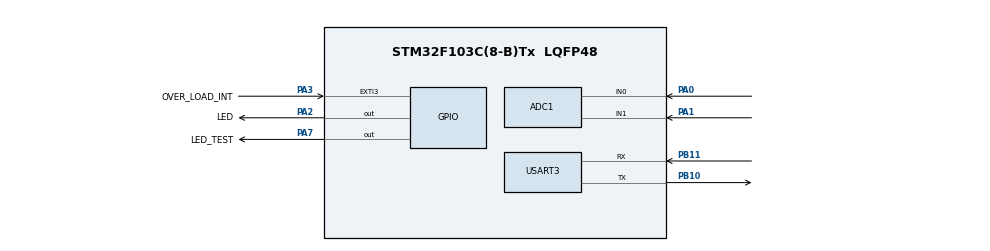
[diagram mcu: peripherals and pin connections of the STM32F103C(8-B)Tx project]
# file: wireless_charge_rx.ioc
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ADC1.Channel-0\#ChannelRegularConversion=ADC_CHANNEL_0
ADC1.Channel-1\#ChannelRegularConversion=ADC_CHANNEL_1
ADC1.ExternalTrigConv=ADC_EXTERNALTRIGCONV_T3_TRGO
ADC1.NbrOfConversion=2
ADC1.NbrOfConversionFlag=1
ADC1.Rank-0\#ChannelRegularConversion=1
ADC1.Rank-1\#ChannelRegularConversion=2
ADC1.SamplingTime-0\#ChannelRegularConversion=ADC_SAMPLETIME_7CYCLES_5
ADC1.SamplingTime-1\#ChannelRegularConversion=ADC_SAMPLETIME_7CYCLES_5
ADC1.master=1
Dma.ADC1.0.Direction=DMA_PERIPH_TO_MEMORY
Dma.ADC1.0.Instance=DMA1_Channel1
Dma.ADC1.0.MemDataAlignment=DMA_MDATAALIGN_WORD
Dma.ADC1.0.MemInc=DMA_MINC_ENABLE
Dma.ADC1.0.Mode=DMA_CIRCULAR
Dma.ADC1.0.PeriphDataAlignment=DMA_PDATAALIGN_HALFWORD
Dma.ADC1.0.PeriphInc=DMA_PINC_DISABLE
Dma.ADC1.0.Priority=DMA_PRIORITY_LOW
Dma.Request0=ADC1
FREERTOS.INCLUDE_eTaskGetState=1
FREERTOS.INCLUDE_vTaskDelayUntil=1
FREERTOS.INCLUDE_xEventGroupSetBitFromISR=1
FREERTOS.INCLUDE_xQueueGetMutexHolder=1
FREERTOS.INCLUDE_xSemaphoreGetMutexHolder=1
FREERTOS.INCLUDE_xTaskGetCurrentTaskHandle=1
FREERTOS.INCLUDE_xTaskGetHandle=1
FREERTOS.INCLUDE_xTimerPendFunctionCall=1
FREERTOS.Tasks01=defaultTask,0,128,StartDefaultTask,Default,NULL,Dynamic,NULL,NULL;UART_RxTask,1,512,UART_Receive_TaskHandle,Default,NULL,Dynamic,NULL,NULL;Get_ADC_Task,0,768,Get_ADC_Task_Handle,Default,NULL,Dynamic,NULL,NULL;Interrupt_task,2,512,Interrupt_task_handle,Default,NULL,Dynamic,NULL,NULL
FREERTOS.configTOTAL_HEAP_SIZE=12288
FREERTOS.configUSE_TIMERS=1
Mcu.Family=STM32F1
Mcu.Name=STM32F103C(8-B)Tx
Mcu.Package=LQFP48
NVIC.ADC1_2_IRQn=true\:9\:0\:true\:true\:true\:3\:true\:true\:true
NVIC.DMA1_Channel1_IRQn=true\:8\:0\:true\:true\:true\:2\:true\:false\:true
NVIC.EXTI3_IRQn=true\:6\:0\:true\:true\:true\:1\:true\:true\:true
NVIC.PriorityGroup=NVIC_PRIORITYGROUP_4
NVIC.TIM4_IRQn=true\:0\:0\:false\:false\:true\:false\:false\:true
NVIC.TimeBase=TIM4_IRQn
NVIC.TimeBaseIP=TIM4
NVIC.USART3_IRQn=true\:5\:0\:true\:true\:true\:4\:true\:true\:true
PA0-WKUP.Signal=ADCx_IN0
PA1.Signal=ADCx_IN1
PA2.GPIO_Label=LED
PA2.GPIO_PuPd=GPIO_PULLUP
PA2.PinState=GPIO_PIN_SET
PA2.Signal=GPIO_Output
PA3.GPIO_Label=OVER_LOAD_INT
PA3.GPIO_ModeDefaultEXTI=GPIO_MODE_IT_RISING
PA3.GPIO_PuPd=GPIO_PULLDOWN
PA3.Signal=GPXTI3
PA7.GPIO_Label=LED_TEST
PA7.GPIO_ModeDefaultOutputPP=GPIO_MODE_OUTPUT_PP
PA7.PinState=GPIO_PIN_SET
PA7.Signal=GPIO_Output
PB10.Mode=Asynchronous
PB10.Signal=USART3_TX
PB11.GPIO_PuPd=GPIO_PULLUP
PB11.Mode=Asynchronous
PB11.Signal=USART3_RX
ProjectManager.HeapSize=0x200
ProjectManager.StackSize=0x400
ProjectManager.TargetToolchain=MDK-ARM V5
RCC.APB1Freq_Value=8000000
RCC.APB2Freq_Value=8000000
SH.ADCx_IN0.0=ADC1_IN0,IN0
SH.ADCx_IN1.0=ADC1_IN1,IN1
TIM3.Period=8000
TIM3.TIM_MasterOutputTrigger=TIM_TRGO_UPDATE
USART3.VirtualMode=VM_ASYNC
VP_FREERTOS_VS_CMSIS_V1.Mode=CMSIS_V1
VP_SYS_VS_ND.Mode=No_Debug
VP_SYS_VS_tim4.Mode=TIM4
VP_TIM3_VS_ClockSourceINT.Mode=Internal
board=custom

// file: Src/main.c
/* USER CODE BEGIN Header */
/**
  ******************************************************************************
  * @file           : main.c
  * @brief          : Main program body
  ******************************************************************************
  * @attention
  *
  * <h2><center>&copy; Copyright (c) 2019 STMicroelectronics.
  * All rights reserved.</center></h2>
  *
  * This software component is licensed by ST under Ultimate Liberty license
  * SLA0044, the "License"; You may not use this file except in compliance with
  * the License. You may obtain a copy of the License at:
  *                             www.st.com/SLA0044
  *
  ******************************************************************************
  */
/* USER CODE END Header */

#include "main.h"
#include "cmsis_os.h"
#include "adc.h"
#include "dma.h"
#include "tim.h"
#include "usart.h"
#include "gpio.h"

void SystemClock_Config(void);
void MX_FREERTOS_Init(void);
static void MX_NVIC_Init(void);

/* USER CODE BEGIN 0 */
uint32_t myADC[2] = {0};
uint8_t uart_receive_data = 0;
__IO uint8_t over_vol_tx_flag = 0;

__IO wireless_charge_data_t myWC_dat = {
								.voltage    	= 0.0f,
								.current 		= 0.0f,
								.over_load_rx 	= 0,
								.keep_live 		= 0 };

	__IO SignalData mydata = {

		.overload  = 0,
		.bleonline = 0,
		.voltage   = 0,
		.current   = 0
							};
/* USER CODE END 0 */

int main(void)
{

  /* MCU Configuration--------------------------------------------------------*/

  /* Reset of all peripherals, Initializes the Flash interface and the Systick. */
  HAL_Init();

  /* Configure the system clock */
  SystemClock_Config();

  /* Initialize all configured peripherals */
  MX_GPIO_Init();
  MX_DMA_Init();
  MX_ADC1_Init();
  MX_TIM3_Init();
  MX_USART3_UART_Init();

  /* Initialize interrupts */
  MX_NVIC_Init();
  /* USER CODE BEGIN 2 */
	HAL_TIM_Base_Start(&htim3);
	HAL_ADC_Start_DMA(&hadc1,myADC,2);
	HAL_UART_Receive_IT(&huart3,&uart_receive_data,1);
  /* USER CODE END 2 */

  /* Call init function for freertos objects (in freertos.c) */
  MX_FREERTOS_Init();

  /* Start scheduler */
  osKernelStart();

  /* We should never get here as control is now taken by the scheduler */

  /* Infinite loop */
  while (1)
  {

  }
}

void SystemClock_Config(void)
{
  RCC_OscInitTypeDef RCC_OscInitStruct = {0};
  RCC_ClkInitTypeDef RCC_ClkInitStruct = {0};
  RCC_PeriphCLKInitTypeDef PeriphClkInit = {0};

  /** Initializes the CPU, AHB and APB busses clocks
  */
  RCC_OscInitStruct.OscillatorType = RCC_OSCILLATORTYPE_HSI;
  RCC_OscInitStruct.HSIState = RCC_HSI_ON;
  RCC_OscInitStruct.HSICalibrationValue = RCC_HSICALIBRATION_DEFAULT;
  RCC_OscInitStruct.PLL.PLLState = RCC_PLL_NONE;
  if (HAL_RCC_OscConfig(&RCC_OscInitStruct) != HAL_OK)
  {
    Error_Handler();
  }
  /** Initializes the CPU, AHB and APB busses clocks
  */
  RCC_ClkInitStruct.ClockType = RCC_CLOCKTYPE_HCLK|RCC_CLOCKTYPE_SYSCLK
                              |RCC_CLOCKTYPE_PCLK1|RCC_CLOCKTYPE_PCLK2;
  RCC_ClkInitStruct.SYSCLKSource = RCC_SYSCLKSOURCE_HSI;
  RCC_ClkInitStruct.AHBCLKDivider = RCC_SYSCLK_DIV1;
  RCC_ClkInitStruct.APB1CLKDivider = RCC_HCLK_DIV1;
  RCC_ClkInitStruct.APB2CLKDivider = RCC_HCLK_DIV1;

  if (HAL_RCC_ClockConfig(&RCC_ClkInitStruct, FLASH_LATENCY_0) != HAL_OK)
  {
    Error_Handler();
  }
  PeriphClkInit.PeriphClockSelection = RCC_PERIPHCLK_ADC;
  PeriphClkInit.AdcClockSelection = RCC_ADCPCLK2_DIV2;
  if (HAL_RCCEx_PeriphCLKConfig(&PeriphClkInit) != HAL_OK)
  {
    Error_Handler();
  }
}

/**
  * @brief NVIC Configuration.
  * @retval None
  */
static void MX_NVIC_Init(void)
{
  /* EXTI3_IRQn interrupt configuration */
  HAL_NVIC_SetPriority(EXTI3_IRQn, 6, 0);
  HAL_NVIC_EnableIRQ(EXTI3_IRQn);
  /* DMA1_Channel1_IRQn interrupt configuration */
  HAL_NVIC_SetPriority(DMA1_Channel1_IRQn, 8, 0);
  HAL_NVIC_EnableIRQ(DMA1_Channel1_IRQn);
  /* ADC1_2_IRQn interrupt configuration */
  HAL_NVIC_SetPriority(ADC1_2_IRQn, 9, 0);
  HAL_NVIC_EnableIRQ(ADC1_2_IRQn);
  /* USART3_IRQn interrupt configuration */
  HAL_NVIC_SetPriority(USART3_IRQn, 5, 0);
  HAL_NVIC_EnableIRQ(USART3_IRQn);
}

void HAL_TIM_PeriodElapsedCallback(TIM_HandleTypeDef *htim)
{
  if (htim->Instance == TIM4) {
    HAL_IncTick();
  }
}

void Error_Handler(void)
{
}

/************************ (C) COPYRIGHT STMicroelectronics *****END OF FILE****/

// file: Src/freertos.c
/* USER CODE BEGIN Header */
/**
  ******************************************************************************
  * File Name          : freertos.c
  * Description        : Code for freertos applications
  ******************************************************************************
  * @attention
  *
  * <h2><center>&copy; Copyright (c) 2019 STMicroelectronics.
  * All rights reserved.</center></h2>
  *
  * This software component is licensed by ST under Ultimate Liberty license
  * SLA0044, the "License"; You may not use this file except in compliance with
  * the License. You may obtain a copy of the License at:
  *                             www.st.com/SLA0044
  *
  ******************************************************************************
  */
/* USER CODE END Header */

#include "FreeRTOS.h"
#include "task.h"
#include "main.h"
#include "cmsis_os.h"

/* USER CODE BEGIN Includes */
#include "stdio.h"
#include "string.h"
#include <stdlib.h>
/* USER CODE END Includes */

/* USER CODE BEGIN PTD */
int32_t com(const void*a,const void*b)
{
	/* 从小到大排序  */
	//return *(int*)a-*(int*)b;
	/* 从大到小排序  */
	//return *(int*)b-*(int*)a;
	/* 从小到大排序  */
	return *(int32_t *)a - *(int32_t *)b;
}

uint16_t crc16_compute(uint8_t const * p_data, uint32_t size, uint16_t const * p_crc)
{
    uint16_t crc = (p_crc == NULL) ? 0xFFFF : *p_crc;

    for (uint32_t i = 0; i < size; i++)
    {
        crc  = (uint8_t)(crc >> 8) | (crc << 8);
        crc ^= p_data[i];
        crc ^= (uint8_t)(crc & 0xFF) >> 4;
        crc ^= (crc << 8) << 4;
        crc ^= ((crc & 0xFF) << 4) << 1;
    }

    return crc;
}
/* USER CODE END PTD */

/* USER CODE BEGIN Variables */
__IO static uint8_t over_load_rx = 0;
/* USER CODE END Variables */
osThreadId defaultTaskHandle;
osThreadId UART_RxTaskHandle;
osThreadId Get_ADC_TaskHandle;
osThreadId Interrupt_taskHandle;

/* USER CODE BEGIN FunctionPrototypes */
extern uint8_t uart_receive_data ;
extern uint8_t RxData[100];

extern UART_HandleTypeDef huart3;
extern __IO wireless_charge_data_t myWC_dat;
extern uint32_t myADC[2];
extern __IO uint8_t over_vol_tx_flag;

extern 	__IO SignalData mydata ;

led_blinky_t mBliky = {
			.mode = LED_NULL,
			.gpioport = LED_GPIO_Port,
			LED_Pin };

/* Declare a variable to hold the created event group. */
EventGroupHandle_t xControlUartEventGroup = NULL;
vol_cur_t *pData = NULL;
/* USER CODE END FunctionPrototypes */

void StartDefaultTask(void const * argument);
void UART_Receive_TaskHandle(void const * argument);
void Get_ADC_Task_Handle(void const * argument);
void Interrupt_task_handle(void const * argument);

void MX_FREERTOS_Init(void); /* (MISRA C 2004 rule 8.1) */

void MX_FREERTOS_Init(void) {
  /* USER CODE BEGIN Init */
    xControlUartEventGroup = xEventGroupCreate();
	/* Was the event group created successfully? */
	if( xControlUartEventGroup == NULL )
	{

	}
	else
	{
	/* The event group was created. */
	}
  /* USER CODE END Init */

  /* Create the thread(s) */
  /* definition and creation of defaultTask */
  osThreadDef(defaultTask, StartDefaultTask, osPriorityNormal, 0, 128);
  defaultTaskHandle = osThreadCreate(osThread(defaultTask), NULL);

  /* definition and creation of UART_RxTask */
 // osThreadDef(UART_RxTask, UART_Receive_TaskHandle, osPriorityAboveNormal, 0, 512);
 // UART_RxTaskHandle = osThreadCreate(osThread(UART_RxTask), NULL);

  /* definition and creation of Get_ADC_Task */
  osThreadDef(Get_ADC_Task, Get_ADC_Task_Handle, osPriorityAboveNormal, 0, 768);
  Get_ADC_TaskHandle = osThreadCreate(osThread(Get_ADC_Task), NULL);

  /* definition and creation of Interrupt_task */
  osThreadDef(Interrupt_task, Interrupt_task_handle, osPriorityHigh, 0, 512);
  Interrupt_taskHandle = osThreadCreate(osThread(Interrupt_task), NULL);

}

void StartDefaultTask(void const * argument)
{

  /* USER CODE BEGIN StartDefaultTask */
	EventBits_t uxBits;
  /* Infinite loop */
  for(;;)
  {
    uxBits = xEventGroupWaitBits(
		xControlUartEventGroup, /* The event group being tested. */
		BIT_ADC_OK | BIT_RX_OKN, /* The bits within the event group to wait for. */
		pdTRUE, /* BIT_0 and BIT_4 should be cleared before returning. */
		//pdFALSE, /* Don't wait for both bits, either bit will do. */
	   pdTRUE,
		portMAX_DELAY );/* Wait a maximum of 100ms for either bit to be set. */
	 if( ( uxBits & ( BIT_ADC_OK | BIT_RX_OKN ) ) == ( BIT_ADC_OK | BIT_RX_OKN ) )
	{
		HAL_UART_Transmit_IT( &huart3, (uint8_t *)pData, sizeof(vol_cur_t) );
	}
  }
  /* USER CODE END StartDefaultTask */
}

void UART_Receive_TaskHandle(void const * argument)
{
  /* USER CODE BEGIN UART_Receive_TaskHandle */

  /* Infinite loop */
  for(;;)
  {
	osDelay(10);
  }
  /* USER CODE END UART_Receive_TaskHandle */
}

void Get_ADC_Task_Handle(void const * argument)
{
  /* USER CODE BEGIN Get_ADC_Task_Handle */
	BaseType_t xResult;

	#define SAMPLE_CNT 59
	#define SAMPLE_MIDDLE_VALUE ( SAMPLE_CNT / 2 )
	static uint32_t adc_cur[SAMPLE_CNT] = {0};
	static uint32_t adc_vol[SAMPLE_CNT] = {0};
	static uint8_t index = 0;
	//static uint32_t cnt = 0;
	uint32_t ulNotifycationValue;
	pData = (vol_cur_t *)calloc(1,sizeof(vol_cur_t));
	const TickType_t xMaxBlockTime = pdMS_TO_TICKS( 8 );
	vTaskDelay(700); //刚开始时延时500ms在取样
  /* Infinite loop */
  for(;;)
  {
	  ulNotifycationValue = ulTaskNotifyTake( pdFALSE, xMaxBlockTime );//等待adc中断产生任务通知
	  if( ulNotifycationValue == 1 )//转换完成
	  { //这里的间隔约1ms

		  if( index < SAMPLE_CNT )
		  {
			  adc_cur[index] = myADC[0];
			  adc_vol[index] = myADC[1];
			  index++;
		  }
		  else if( index >= SAMPLE_CNT )
		  { //取中间值算法
			  index = 0;
			  qsort( adc_cur, SAMPLE_CNT, sizeof( uint32_t ), com ); //从小到大排序
			  qsort( adc_vol, SAMPLE_CNT, sizeof( uint32_t ), com );
			  pData->data.vol = adc_vol[SAMPLE_MIDDLE_VALUE];
			  pData->data.cur = adc_cur[SAMPLE_MIDDLE_VALUE];
			  if( over_load_rx == 1 ) //若发生过载，其变量为1，否则为0
			  {
				  over_load_rx = 0;		//清0，为下次做准备
				  pData->data.overload = 1;
			  }
			  else
			  {
				  pData->data.overload = 0; //不发生过载，其变量为0
			  }
			  pData->ch = '\n';
			  //给出事件组设定位
			  xResult = xEventGroupSetBits(
											xControlUartEventGroup,
											BIT_ADC_OK );
			  (void) xResult;
		  }

	  }
	  else //超时
	  {
		  //超时处理
	  }
  }
  /* USER CODE END Get_ADC_Task_Handle */
}

void Interrupt_task_handle(void const * argument)
{
  /* USER CODE BEGIN Interrupt_task_handle */
	uint32_t ulNotificationValue;
	const TickType_t xMaxBlockTime = pdMS_TO_TICKS(500);

  /* Infinite loop */
  for(;;)
  {

		ulNotificationValue = ulTaskNotifyTake( pdFALSE, xMaxBlockTime ); //等待任务通知
		if( ulNotificationValue == 1 ) //发生过压中断将过载标识位置1，它在取得电压电流值时统一发送
		{
			over_load_rx = 1;

		}

  }
  /* USER CODE END Interrupt_task_handle */
}

/************************ (C) COPYRIGHT STMicroelectronics *****END OF FILE****/
